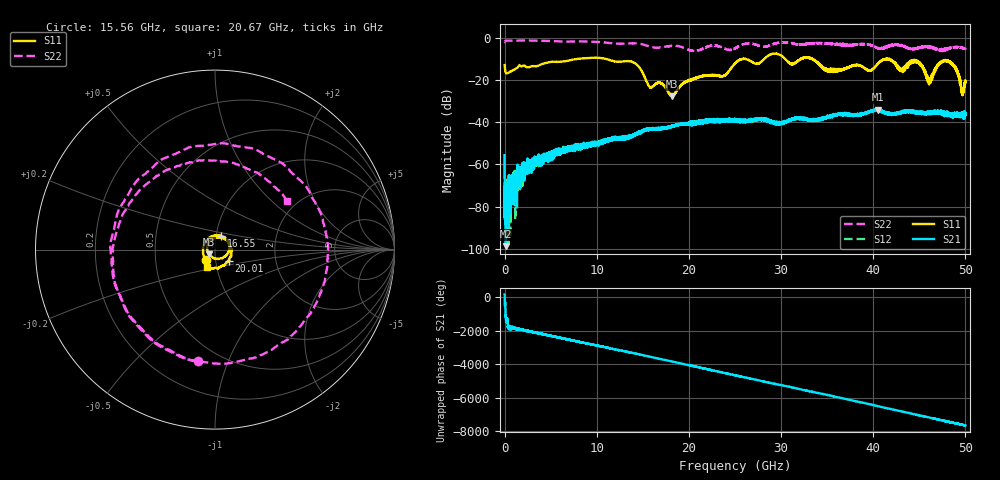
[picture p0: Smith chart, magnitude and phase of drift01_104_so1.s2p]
!Created with skrf (http://scikit-rf.org).
# Hz S RI R 50.0
!freq ReS11 ImS11 ReS21 ImS21 ReS12 ImS12 ReS22 ImS22
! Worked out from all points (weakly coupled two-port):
!   10001 points, 300 kHz to 50 GHz, reference 50 ohm
!   highest |S21| = -34.06 dB at 40.54 GHz (marker M1); lowest = -98.6 dB at 135.3 MHz (marker M2)
!   lowest |S11| = -27.7 dB at 18.12 GHz (marker M3), VSWR 1.09, Z = 46.8 - j2.36 ohm
!   |S11| at or under -10 dB: start of sweep to 8.07 GHz; 10.91 GHz to 26 GHz (15.09 GHz wide, 81.7 % of centre); 33.37 GHz to end of sweep (the widest 3 of 11)
!   |S22| runs from -6.4 to -1.4 dB; largest |S21 - S12| = 0.0044
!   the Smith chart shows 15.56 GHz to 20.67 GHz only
!   S11 on the Smith chart (normalised r, x): 15.56 GHz: 0.89, -0.11; 16.55 GHz: 1.06, +0.16; 20.01 GHz: 1.16, -0.15; 20.67 GHz: 0.90, -0.18
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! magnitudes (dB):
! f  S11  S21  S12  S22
! 300 kHz  -13.0  -55.6  -56.8  -2.1
! 135.3 MHz  -16.7  -98.6  -76.6  -1.5
! 260.3 MHz  -16.9  -80.7  -73.9  -1.4
! 3.07 GHz  -13.4  -57.2  -58.3  -1.4
! 8.335 GHz  -9.9  -50.8  -51.1  -1.8
! 13.86 GHz  -11.5  -46.6  -46.6  -2.7
! 15.56 GHz  -22.1  -43.7  -43.2  -4.0
! 16.55 GHz  -21.5  -43.0  -43.2  -4.7
! 16.67 GHz  -21.3  -43.5  -43.2  -4.8
! 18.12 GHz  -27.7  -41.9  -42.2  -3.9
! 20.01 GHz  -20.0  -40.5  -40.6  -5.8
! 20.67 GHz  -19.3  -41.2  -40.5  -6.3
! 25 GHz  -12.2  -39.1  -38.9  -5.0
! 33.34 GHz  -10.0  -38.8  -38.7  -2.7
! 35.25 GHz  -15.3  -37.7  -37.5  -2.9
! 40.54 GHz  -12.1  -34.1  -34.6  -5.0
! 41.67 GHz  -10.3  -35.6  -36.1  -4.2
! 43.07 GHz  -15.5  -35.6  -35.3  -3.6
! 44.81 GHz  -11.3  -35.7  -35.5  -5.0
! 46.11 GHz  -21.0  -35.1  -35.2  -4.3
! 48.09 GHz  -11.2  -36.1  -36.6  -5.0
! 50 GHz  -20.7  -35.7  -36.7  -5.3
